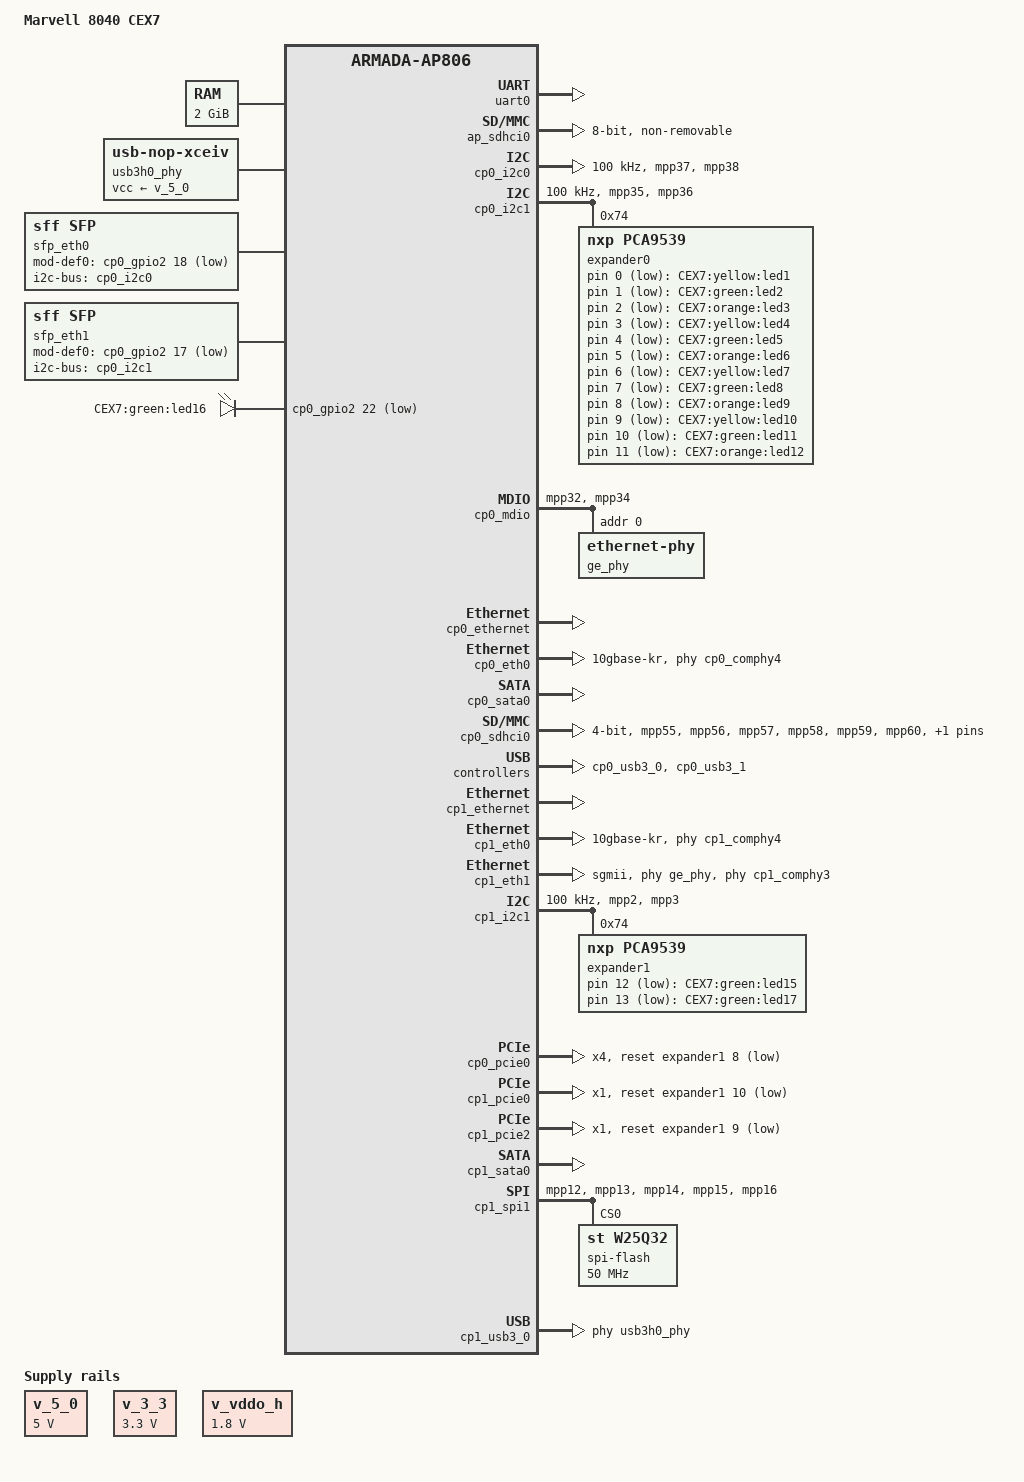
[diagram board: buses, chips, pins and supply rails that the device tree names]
// SPDX-License-Identifier: (GPL-2.0+ OR MIT)
/*
 * Copyright (C) 2016 Marvell Technology Group Ltd.
 *
 * Device Tree file for  Armada 8040 A8k-CEx7 community board platform
 */

#include "armada-8040.dtsi"

#include <dt-bindings/gpio/gpio.h>

/ {
	model = "Marvell 8040 CEX7";
	compatible = "marvell,armada-8040-cex", "marvell,armada8040",
			"marvell,armada-ap806-quad", "marvell,armada-ap806";

	chosen {
		stdout-path = "serial0:115200n8";
	};

	memory@0 {
		device_type = "memory";
		reg = <0x0 0x0 0x0 0x80000000>;
	};

	aliases {
		ethernet0 = &cp0_eth0;
		ethernet1 = &cp1_eth0;
		ethernet2 = &cp1_eth1;
		ethernet3 = &cp1_eth2;
	};

	/* Regulator labels correspond with schematics */
	v_5_0: regulator-5-0v {
		compatible = "regulator-fixed";
		regulator-name = "v_5_0";
		regulator-min-microvolt = <5000000>;
		regulator-max-microvolt = <5000000>;
		regulator-always-on;
		status = "okay";
	};

	v_3_3: regulator-3-3v {
		compatible = "regulator-fixed";
		regulator-name = "v_3_3";
		regulator-min-microvolt = <3300000>;
		regulator-max-microvolt = <3300000>;
		regulator-always-on;
		status = "okay";
	};

	v_vddo_h: regulator-1-8v {
		compatible = "regulator-fixed";
		regulator-name = "v_vddo_h";
		regulator-min-microvolt = <1800000>;
		regulator-max-microvolt = <1800000>;
		regulator-always-on;
		status = "okay";
	};

	usb3h0_phy: usb3_phy0 {
		compatible = "usb-nop-xceiv";
		vcc-supply = <&v_5_0>;
	};

	sfp_eth0: sfp-eth0 {
		/* CON15,16 - CPM lane 4 */
		compatible = "sff,sfp";
		i2c-bus = <&cp0_i2c0>;
		mod-def0-gpio = <&cp0_gpio2 18 GPIO_ACTIVE_LOW>; // cp0 mpp50
		pinctrl-names = "default";
		pinctrl-0 = <&sfp0_int_pins >;
	};

	sfp_eth1: sfp-eth1 {
		/* CON17,18 - CPS lane 4 */
		compatible = "sff,sfp";
		i2c-bus = <&cp0_i2c1>;
		mod-def0-gpio = <&cp0_gpio2 17 GPIO_ACTIVE_LOW>;//cp0 mpp49
		pinctrl-names = "default";
		//pinctrl-0 = <&cp1_sfpp1_pins &cp0_sfpp1_pins>;//old
		pinctrl-0 = <&sfp1_int_pins>;
	};

	leds {
		compatible = "gpio-leds";
		pinctrl-0 = <&cp0_led16_pins>;
		pinctrl-names = "default";

		led0 {
			label = "CEX7:green:led16";
			gpios = <&cp0_gpio2 22 GPIO_ACTIVE_LOW>;//mpp54
			default-state = "off";
		};

		led1{
			compatible = "gpio-leds";
			label = "CEX7:yellow:led1";
			gpios = <&expander0 0 GPIO_ACTIVE_LOW>;
			default-state = "off";
		};

		led2{
			label = "CEX7:green:led2";
			gpios = <&expander0 1 GPIO_ACTIVE_LOW>;
			default-state = "off";
		};

		led3{
			label = "CEX7:orange:led3";
			gpios = <&expander0 2 GPIO_ACTIVE_LOW>;
			default-state = "off";
		};

		led4{
			label = "CEX7:yellow:led4";
			gpios = <&expander0 3 GPIO_ACTIVE_LOW>;
			default-state = "off";
		};

		led5{
			label = "CEX7:green:led5";
			gpios = <&expander0 4 GPIO_ACTIVE_LOW>;
			default-state = "off";
		};

		led6{
			label = "CEX7:orange:led6";
			gpios = <&expander0 5 GPIO_ACTIVE_LOW>;
			default-state = "off";
		};


		led7{
			label = "CEX7:yellow:led7";
			gpios = <&expander0 6 GPIO_ACTIVE_LOW>;
			default-state = "off";
		};

		led8{
			label = "CEX7:green:led8";
			gpios = <&expander0 7 GPIO_ACTIVE_LOW>;
			default-state = "off";
		};

		led9{
			label = "CEX7:orange:led9";
			gpios = <&expander0 8 GPIO_ACTIVE_LOW>;
			default-state = "off";
		};

		led10{
			label = "CEX7:yellow:led10";
			gpios = <&expander0 9 GPIO_ACTIVE_LOW>;
			default-state = "off";
		};

		led11{
			label = "CEX7:green:led11";
			gpios = <&expander0 10 GPIO_ACTIVE_LOW>;
			default-state = "off";
		};

		led12{
			label = "CEX7:orange:led12";
			gpios = <&expander0 11 GPIO_ACTIVE_LOW>;
			default-state = "off";
		};

		led15{
			label = "CEX7:green:led15";
			gpios = <&expander1 12 GPIO_ACTIVE_LOW>;
			default-state = "off";
		};

		led17{
			label = "CEX7:green:led17";
			gpios = <&expander1 13 GPIO_ACTIVE_LOW>;
			default-state = "off";
		};
	};//end leds

};

&uart0 {
	status = "okay";
	pinctrl-0 = <&uart0_pins>;
	pinctrl-names = "default";
};

&ap_sdhci0 {
	bus-width = <8>;
	/*
	 * Not stable in HS modes - phy needs "more calibration", so add
	 * the "slow-mode" and disable SDR104, SDR50 and DDR50 modes.
	 */
	marvell,xenon-phy-slow-mode;
	no-1-8-v;
	no-sd;
	no-sdio;
	non-removable;
	status = "okay";
	vqmmc-supply = <&v_vddo_h>;
};

&cp0_i2c0 {
	clock-frequency = <100000>;
	pinctrl-names = "default";
	pinctrl-0 = <&cp0_i2c0_pins>;
	status = "okay";
};

&cp0_i2c1 {
	clock-frequency = <100000>;
	pinctrl-names = "default";
	pinctrl-0 = <&cp0_i2c1_pins>;
	status = "okay";

	/*
	 * PCA9655 GPIO expander, 0 Hz to 400 kHz clock frequency.
	 * 1+4-yellow led1 +led4
	 * 2+5-green led2+led5
	 * 3+6-oen  led3+led6
	 * 10-yellow led7
	 * 11-green led8
	 * 12-orn  led9
	 * 13-yellow led10
	 * 14-green LED11
	 * 15-orn LED12
	 *19-SCL
	 *20-SDA
	 *24-RESET
	 */
	expander0: gpio-expander@74 {
		/*
		 * This is how it should be:
		 * compatible = "onnn,pca9655", "nxp,pca9555";
		 * but you can't do this because of the way I2C works.
		 */
		compatible = "nxp,pca9539";//compatible = "nxp,pca9539";
		gpio-controller;
		#gpio-cells = <2>;
		reg = <0x74>;
	};
};

&cp0_mdio {
	pinctrl-names = "default";
	pinctrl-0 = <&cp0_ge_mdio_pins>;
	status = "okay";

	ge_phy: ethernet-phy@0 {
		reg = <0>;
	};
};

/*pcie {
			status = "okay";
			pcie@2,0 {
				// Port 1, Lane 0. CON3, nearest power.
			reset-gpios = <&expander0 10 GPIO_ACTIVE_LOW>;
				status = "okay";
		};
};*/

/*&cp0_pcie0 {
	//pinctrl-names = "default";
	//pinctrl-0 = <&cp0_pcie_pins>;use sysrst
	//num-lanes = <4>;
	//num-viewport = <8>;
  reset-gpio = <&expander0 10 GPIO_ACTIVE_LOW>;//GPIO_1_0
	status = "okay";
};*/

&cp0_pinctrl {
	cp0_ge_mdio_pins: ge-mdio-pins {
		marvell,pins = "mpp32", "mpp34";
		marvell,function = "ge";
	};
	cp0_i2c1_pins: i2c1-pins {
		marvell,pins = "mpp35", "mpp36";
		marvell,function = "i2c1";
	};
	cp0_i2c0_pins: i2c0-pins {
		marvell,pins = "mpp37", "mpp38";
		marvell,function = "i2c0";
	};
	cp0_xhci_vbus_pins: xhci0-vbus-pins {
		marvell,pins = "mpp47";
		marvell,function = "gpio";
	};
	cp0_sdhci_pins: sdhci-pins {
		marvell,pins = "mpp55", "mpp56", "mpp57", "mpp58", "mpp59",
			       "mpp60", "mpp61";
		marvell,function = "sdio";
	};
	sfp0_int_pins: sfp0-int-pins {
		marvell,pins = "mpp50";
		marvell,function = "gpio";
	};
	sfp1_int_pins: sfp1-int-pins {
		marvell,pins = "mpp49";
		marvell,function = "gpio";
	};
	cp0_led16_pins: led0-pins {
		marvell,pins = "mpp54";
		marvell,function = "gpio";
	};
};
/*
&cp0_xmdio {
	status = "okay";

	phy0: ethernet-phy@0 {
		compatible = "ethernet-phy-ieee802.3-c45";
		reg = <0>;
		sfp = <&sfp_eth0>;
	};

	phy8: ethernet-phy@8 {
		compatible = "ethernet-phy-ieee802.3-c45";
		reg = <8>;
		sfp = <&sfp_eth1>;
	};
};*/

&cp0_ethernet {
	status = "okay";
};

&cp0_eth0 {
	status = "okay";
	/* Network PHY */
	//phy = <&phy0>;
	phy-mode = "10gbase-kr";
	managed = "in-band-status";
	/* Generic PHY, providing serdes lanes */
	phys = <&cp0_comphy4 0>;
	sfp = <&sfp_eth0>;
};

&cp0_sata0 {
	/* CPM Lane 0 - U29 */
	status = "okay";
};

&cp0_sdhci0 {
	/* U6 */
	broken-cd;
	bus-width = <4>;
	pinctrl-names = "default";
	pinctrl-0 = <&cp0_sdhci_pins>;
	status = "okay";
	vqmmc-supply = <&v_3_3>;
};

&cp0_usb3_0 {
	/* J38? - USB2.0 only */
	status = "okay";
};

&cp0_usb3_1 {
	/* J38? - USB2.0 only */
	status = "okay";
};

&cp1_ethernet {
	status = "okay";
};

&cp1_eth0 {
	status = "okay";
	/* Network PHY */
	//phy = <&phy8>;
	phy-mode = "10gbase-kr";
	managed = "in-band-status";
	/* Generic PHY, providing serdes lanes */
	phys = <&cp1_comphy4 0>;
	sfp = <&sfp_eth1>;
};

&cp1_eth1 {
	/* CPS Lane 0 - J5 (Gigabit RJ45) */
	status = "okay";
	/* Network PHY */
	phy = <&ge_phy>;
	phy-mode = "sgmii";
	/* Generic PHY, providing serdes lanes */
	phys = <&cp1_comphy3 1>;
};

//********************************---------------------------------------------

&cp1_i2c1 {
	clock-frequency = <100000>;
	pinctrl-names = "default";
	pinctrl-0 = <&cp1_i2c1_pins>;
	status = "okay";
	/*
	 * PCA9655 GPIO expander, 0 Hz to 400 kHz clock frequency.
	 * 10-I/O GPIO_1_0 -> reset-gpio to PCIe
	 * 11-I/O GPIO_1_1 -> reset-gpio to mPCIe1
	 * 12-I/O GPIO_1_2 -> reset-gpio to mPCIe0
	 * 14-green LED15
	 * 15-green LED17
	 *19-SCL
	 *20-SDA
	 *24-RESET
	 */
	expander1: gpio-expander@74 {
		/*
		 * This is how it should be:
		 * compatible = "onnn,pca9655", "nxp,pca9555";
		 * but you can't do this because of the way I2C works.
		 */
		compatible = "nxp,pca9539";//compatible = "nxp,pca9539";
		gpio-controller;
		#gpio-cells = <2>;
		reg = <0x74>;
	};
};

//*************************************************************

&cp0_pcie0 {
	//pinctrl-names = "default";
	num-lanes = <4>;
	num-viewport = <8>;
  reset-gpio = <&expander1 8 GPIO_ACTIVE_LOW>;//GPIO_1_0
	status = "okay";
};

&cp1_pcie0 {
	//pinctrl-names = "default";
	num-lanes = <1>;
	num-viewport = <2>;
	reset-gpio = <&expander1 10 GPIO_ACTIVE_LOW>;//GPIO_a
	status = "okay";
};

&cp1_pcie2 {
	//pinctrl-names = "default";
	num-lanes = <1>;
  num-viewport = <2>;
	reset-gpio = <&expander1 9 GPIO_ACTIVE_LOW>;//GPIO_1_1
	status = "okay";
};



&cp1_pinctrl {
	cp1_spi1_pins: spi1-pins {
		marvell,pins = "mpp12", "mpp13", "mpp14", "mpp15", "mpp16";
		marvell,function = "spi1";
	};
	cp1_sfp_1g_pins: sfp-1g-pins {
		marvell,pins = "mpp24";
		marvell,function = "gpio";
	};
	cp1_i2c1_pins: i2c1-pins {
			marvell,pins = "mpp2", "mpp3";
			marvell,function = "i2c1";
	};

};

&cp1_sata0 {
	/* CPS Lane 1 - U32 */
	/* CPS Lane 3 - U31 */
	status = "okay";
};

&cp1_spi1 {
	pinctrl-names = "default";
	pinctrl-0 = <&cp1_spi1_pins>;
	status = "okay";

	spi-flash@0 {
		compatible = "st,w25q32";
		spi-max-frequency = <50000000>;
		reg = <0>;
	};
};

&cp1_usb3_0 {
	/* CPS Lane 2 - CON7 */
	usb-phy = <&usb3h0_phy>;
	status = "okay";
};
